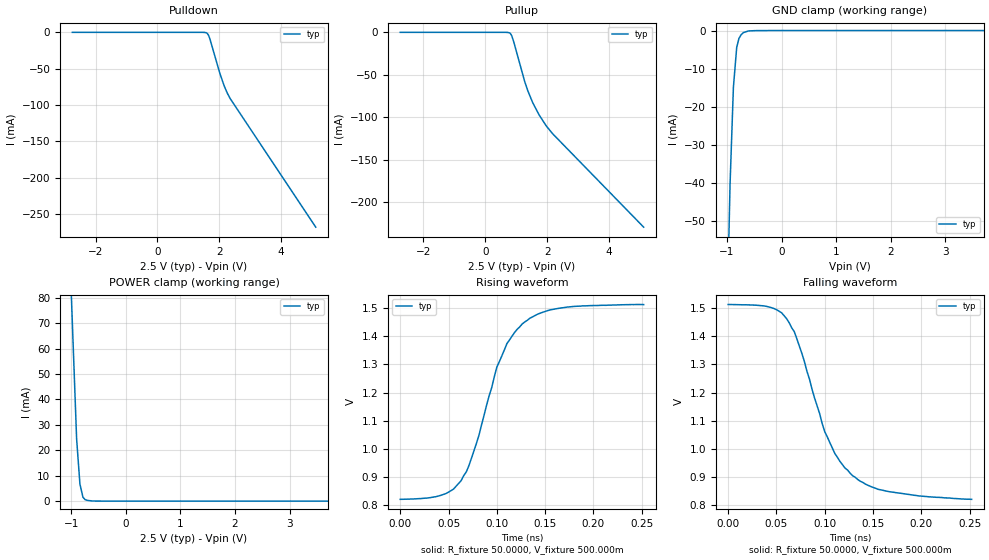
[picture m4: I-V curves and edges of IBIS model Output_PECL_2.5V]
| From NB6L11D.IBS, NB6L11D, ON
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[Model] Output_PECL_2.5V
Model_type Output_ECL
Vref  = 0.50000V
Rref  = 50.0000ohms
Cref  = 0.00000pF
Vmeas = 1.1668V
C_comp  1.13000pF  NA  NA
| variable   typ   NA  NA
[Voltage Range]   2.50000V  NA  NA
[POWER Clamp Reference]  2.50000V  NA  NA
[Pullup Reference]   2.50000V  NA  NA
[Pulldown Reference]   2.50000V  NA  NA
[GND Clamp Reference]   0.00000V  NA  NA
[Temperature Range]   25   NA  NA
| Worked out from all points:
|   GND clamp passes 1 mA (typ) near -0.74 V on its own axis
|   POWER clamp passes 1 mA (typ) near -0.76 V on its own axis
|   falling waveform, R_fixture 50.0000, V_fixture 500.000m: 20-80 % time 42.3ps typ, NA min, NA max; typ from 1.51 V to 0.821 V
|   rising waveform, R_fixture 50.0000, V_fixture 500.000m: 20-80 % time 37.5ps typ, NA min, NA max; typ from 0.821 V to 1.51 V
[GND Clamp]
-2.5V     -1.026A    NA         NA
-941.9mV  -40.14mA   NA         NA
-881.1mV  -14.86mA   NA         NA
-820.8mV  -4.383mA   NA         NA
-780.3mV  -2.054mA   NA         NA
-739.8mV  -1.055mA   NA         NA
-699.4mV  -503.7uA   NA         NA
-603.1mV  -51.72uA   NA         NA
-462.7mV  30.99uA    NA         NA
5V        54.28uA    NA         NA
[Pulldown]
-2.75V    -76.4uA    NA         NA
1.477V    -119.8uA   NA         NA
1.619V    -1.693mA   NA         NA
1.659V    -4.391mA   NA         NA
1.7V      -8.966mA   NA         NA
2.018V    -55.81mA   NA         NA
2.16V     -73.33mA   NA         NA
2.261V    -83.46mA   NA         NA
2.357V    -91.15mA   NA         NA
5.125V    -267.8mA   NA         NA
[Pullup]
-2.75V    -94.71uA   NA         NA
678.8mV   -135.6uA   NA         NA
800.5mV   -1.106mA   NA         NA
860.5mV   -4.451mA   NA         NA
921.5mV   -11.26mA   NA         NA
1.28V     -58.6mA    NA         NA
1.381V    -69.33mA   NA         NA
1.538V    -83.13mA   NA         NA
1.74V     -97.24mA   NA         NA
1.978V    -110.5mA   NA         NA
2.18V     -119.6mA   NA         NA
5.125V    -229.6mA   NA         NA
[POWER Clamp]
-2.5V     961.5mA    NA         NA
-1.02V    95.53mA    NA         NA
-959.5mV  60.07mA    NA         NA
-898.7mV  24.5mA     NA         NA
-838.3mV  6.76mA     NA         NA
-783.1mV  1.554mA    NA         NA
-742.6mV  582.1uA    NA         NA
-600.9mV  44.55uA    NA         NA
-300.4mV  0A         NA         NA
5V        0A         NA         NA
[Falling Waveform]
R_fixture = 50.0000
V_fixture = 500.000m
0s        1.512V     NA         NA
39.47ps   1.506V     NA         NA
60.53ps   1.462V     NA         NA
68.42ps   1.417V     NA         NA
76.32ps   1.339V     NA         NA
100ps     1.062V     NA         NA
110.5ps   983.6mV    NA         NA
129ps     905.1mV    NA         NA
163.2ps   851mV      NA         NA
252.1ps   821.5mV    NA         NA
[Rising Waveform]
R_fixture = 50.0000
V_fixture = 500.000m
0s        821.5mV    NA         NA
42.1ps    835.7mV    NA         NA
63.16ps   888.2mV    NA         NA
71.05ps   940.3mV    NA         NA
78.95ps   1.02V      NA         NA
100ps     1.29V      NA         NA
110.5ps   1.374V     NA         NA
126.3ps   1.444V     NA         NA
165.8ps   1.5V       NA         NA
252.1ps   1.512V     NA         NA
[Ramp]
| variable typ min max
dV/dt_r 412.733m/90.6180p  NA  NA
dV/dt_f 412.733m/78.4452p  NA  NA
R_load = 50.0000Ohms
